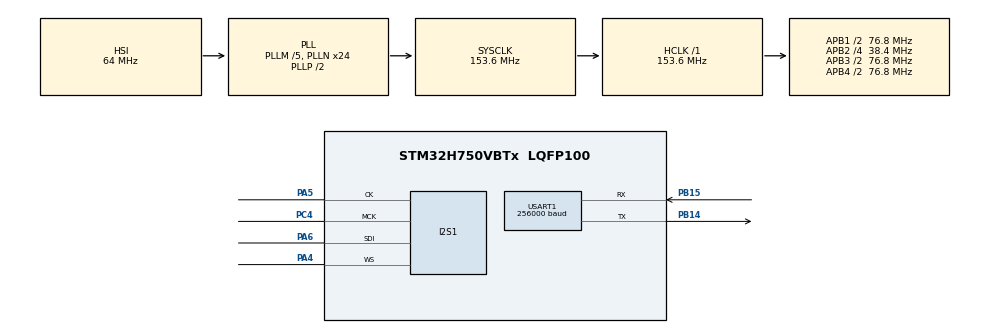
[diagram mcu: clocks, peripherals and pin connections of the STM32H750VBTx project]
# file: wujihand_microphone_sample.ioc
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CORTEX_M7.default_mode_Activation=1
Dma.Request0=USART1_TX
Dma.Request1=SPI1_RX
Dma.SPI1_RX.1.Direction=DMA_PERIPH_TO_MEMORY
Dma.SPI1_RX.1.EventEnable=DISABLE
Dma.SPI1_RX.1.FIFOMode=DMA_FIFOMODE_ENABLE
Dma.SPI1_RX.1.FIFOThreshold=DMA_FIFO_THRESHOLD_FULL
Dma.SPI1_RX.1.Instance=DMA1_Stream0
Dma.SPI1_RX.1.MemBurst=DMA_MBURST_SINGLE
Dma.SPI1_RX.1.MemDataAlignment=DMA_MDATAALIGN_BYTE
Dma.SPI1_RX.1.MemInc=DMA_MINC_ENABLE
Dma.SPI1_RX.1.Mode=DMA_CIRCULAR
Dma.SPI1_RX.1.PeriphBurst=DMA_PBURST_SINGLE
Dma.SPI1_RX.1.PeriphDataAlignment=DMA_PDATAALIGN_HALFWORD
Dma.SPI1_RX.1.PeriphInc=DMA_PINC_DISABLE
Dma.SPI1_RX.1.Polarity=HAL_DMAMUX_REQ_GEN_RISING
Dma.SPI1_RX.1.Priority=DMA_PRIORITY_LOW
Dma.SPI1_RX.1.RequestNumber=1
Dma.SPI1_RX.1.SignalID=NONE
Dma.SPI1_RX.1.SyncEnable=DISABLE
Dma.SPI1_RX.1.SyncPolarity=HAL_DMAMUX_SYNC_NO_EVENT
Dma.SPI1_RX.1.SyncRequestNumber=1
Dma.SPI1_RX.1.SyncSignalID=NONE
Dma.USART1_TX.0.Direction=DMA_MEMORY_TO_PERIPH
Dma.USART1_TX.0.EventEnable=DISABLE
Dma.USART1_TX.0.FIFOMode=DMA_FIFOMODE_DISABLE
Dma.USART1_TX.0.Instance=DMA1_Stream1
Dma.USART1_TX.0.MemDataAlignment=DMA_MDATAALIGN_BYTE
Dma.USART1_TX.0.MemInc=DMA_MINC_ENABLE
Dma.USART1_TX.0.Mode=DMA_NORMAL
Dma.USART1_TX.0.PeriphDataAlignment=DMA_PDATAALIGN_BYTE
Dma.USART1_TX.0.PeriphInc=DMA_PINC_DISABLE
Dma.USART1_TX.0.Polarity=HAL_DMAMUX_REQ_GEN_RISING
Dma.USART1_TX.0.Priority=DMA_PRIORITY_LOW
Dma.USART1_TX.0.RequestNumber=1
Dma.USART1_TX.0.SignalID=NONE
Dma.USART1_TX.0.SyncEnable=DISABLE
Dma.USART1_TX.0.SyncPolarity=HAL_DMAMUX_SYNC_NO_EVENT
Dma.USART1_TX.0.SyncRequestNumber=1
Dma.USART1_TX.0.SyncSignalID=NONE
I2S1.AudioFreq=I2S_AUDIOFREQ_48K
I2S1.DataFormat=I2S_DATAFORMAT_16B
I2S1.ErrorAudioFreq=0.0 %
I2S1.Instance=SPI$Index
I2S1.RealAudioFreq=48.0 KHz
I2S1.Standard=I2S_STANDARD_MSB
Mcu.Family=STM32H7
Mcu.Name=STM32H750VBTx
Mcu.Package=LQFP100
NVIC.DMA1_Stream0_IRQn=true\:0\:0\:false\:false\:true\:false\:true\:true
NVIC.DMA1_Stream1_IRQn=true\:0\:0\:false\:false\:true\:false\:true\:true
NVIC.PriorityGroup=NVIC_PRIORITYGROUP_4
NVIC.SPI1_IRQn=true\:0\:0\:false\:false\:true\:true\:true\:true
NVIC.USART1_IRQn=true\:0\:0\:false\:false\:true\:false\:true\:true
PA4.Mode=Half_Duplex_Master_Rx
PA4.Signal=I2S1_WS
PA5.Mode=Half_Duplex_Master_Rx
PA5.Signal=I2S1_CK
PA6.Mode=Half_Duplex_Master_Rx
PA6.Signal=I2S1_SDI
PB14.Mode=Asynchronous
PB14.Signal=USART1_TX
PB15.Mode=Asynchronous
PB15.Signal=USART1_RX
PC14-OSC32_IN\ (OSC32_IN).Mode=LSE-External-Oscillator
PC14-OSC32_IN\ (OSC32_IN).Signal=RCC_OSC32_IN
PC15-OSC32_OUT\ (OSC32_OUT).Mode=LSE-External-Oscillator
PC15-OSC32_OUT\ (OSC32_OUT).Signal=RCC_OSC32_OUT
PC4.Mode=Master_Clock_Activated
PC4.Signal=I2S1_MCK
PH0-OSC_IN\ (PH0).Mode=HSE-External-Oscillator
PH0-OSC_IN\ (PH0).Signal=RCC_OSC_IN
PH1-OSC_OUT\ (PH1).Mode=HSE-External-Oscillator
PH1-OSC_OUT\ (PH1).Signal=RCC_OSC_OUT
ProjectManager.HeapSize=0x200
ProjectManager.StackSize=0x400
ProjectManager.TargetToolchain=MDK-ARM V5.32
RCC.ADCFreq_Value=129000000
RCC.APB1Freq_Value=76800000
RCC.APB2Freq_Value=38400000
RCC.APB3Freq_Value=76800000
RCC.APB4Freq_Value=76800000
RCC.CortexFreq_Value=153600000
RCC.D1PPRE=RCC_APB3_DIV2
RCC.D2PPRE1=RCC_APB1_DIV2
RCC.D2PPRE2=RCC_APB2_DIV4
RCC.D3PPRE=RCC_APB4_DIV2
RCC.DIVM1=5
RCC.DIVN1=24
RCC.DIVQ1=5
RCC.HCLKFreq_Value=153600000
RCC.PLL2FRACN=0
RCC.PLL3FRACN=0
RCC.PLLFRACN=0
RCC.SYSCLKFreq_VALUE=153600000
RCC.SYSCLKSource=RCC_SYSCLKSOURCE_PLLCLK
RCC.USBFreq_Value=61440000
USART1.BaudRate=256000
USART1.VirtualMode-Asynchronous=VM_ASYNC
VP_CRC_VS_CRC.Mode=CRC_Activate
VP_MEMORYMAP_VS_MEMORYMAP.Mode=CurAppReg
VP_PDM2PCM_VS_PDM2PCM.Mode=PDM2PCM_Channel
board=custom

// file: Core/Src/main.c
/* USER CODE BEGIN Header */
/**
  ******************************************************************************
  * @file           : main.c
  * @brief          : Main program body
  ******************************************************************************
  * @attention
  *
  * Copyright (c) 2025 STMicroelectronics.
  * All rights reserved.
  *
  * This software is licensed under terms that can be found in the LICENSE file
  * in the root directory of this software component.
  * If no LICENSE file comes with this software, it is provided AS-IS.
  *
  ******************************************************************************
  */
/* USER CODE END Header */
#include "main.h"
#include "crc.h"
#include "dma.h"
#include "i2s.h"
#include "pdm2pcm.h"
#include "usart.h"
#include "gpio.h"

/* USER CODE BEGIN Includes */
#include "string.h"
#include "stdint.h"
#include "math.h"
#include "bsp_lpf.h"
/* USER CODE END Includes */

/* USER CODE BEGIN PV */
int komijbox_sound_dB ( const int16_t *pcm, int len );
/* USER CODE END PV */

void SystemClock_Config(void);
static void MPU_Config(void);

/* USER CODE BEGIN 0 */
int32_t g_pdm_buf[128];
int16_t g_pcm_buf[128];
int16_t g_filtered_pcm_buf[128];
int dB = 0;
extern PDM_Filter_Handler_t PDM1_filter_handler;
/* USER CODE END 0 */

int main(void)
{

  /* MPU Configuration--------------------------------------------------------*/
  MPU_Config();

  /* MCU Configuration--------------------------------------------------------*/

  /* Reset of all peripherals, Initializes the Flash interface and the Systick. */
  HAL_Init();

  /* Configure the system clock */
  SystemClock_Config();

  /* Initialize all configured peripherals */
  MX_GPIO_Init();
  MX_DMA_Init();
  MX_CRC_Init();
  MX_USART1_UART_Init();
  MX_I2S1_Init();
  MX_PDM2PCM_Init();
  /* USER CODE BEGIN 2 */
	HAL_I2S_Receive_DMA(&hi2s1, (uint16_t *)g_pdm_buf, 128);
    init_lowpass_filter();
  /* USER CODE END 2 */

  /* Infinite loop */
  while (1)
  {

    /* USER CODE BEGIN 3 */
    PDM_Filter(g_pdm_buf, g_pcm_buf, &PDM1_filter_handler);
    filter_block(g_pcm_buf, g_filtered_pcm_buf, 128);
    dB = komijbox_sound_dB(g_filtered_pcm_buf, 128);
    HAL_UART_Transmit_DMA(&huart1, (uint8_t *)g_filtered_pcm_buf, 40);
    HAL_Delay(1);
  }
  /* USER CODE END 3 */
}

void SystemClock_Config(void)
{
  RCC_OscInitTypeDef RCC_OscInitStruct = {0};
  RCC_ClkInitTypeDef RCC_ClkInitStruct = {0};

  /** Supply configuration update enable
  */
  HAL_PWREx_ConfigSupply(PWR_LDO_SUPPLY);

  /** Configure the main internal regulator output voltage
  */
  __HAL_PWR_VOLTAGESCALING_CONFIG(PWR_REGULATOR_VOLTAGE_SCALE3);

  while(!__HAL_PWR_GET_FLAG(PWR_FLAG_VOSRDY)) {}

  /** Initializes the RCC Oscillators according to the specified parameters
  * in the RCC_OscInitTypeDef structure.
  */
  RCC_OscInitStruct.OscillatorType = RCC_OSCILLATORTYPE_HSI;
  RCC_OscInitStruct.HSIState = RCC_HSI_DIV1;
  RCC_OscInitStruct.HSICalibrationValue = RCC_HSICALIBRATION_DEFAULT;
  RCC_OscInitStruct.PLL.PLLState = RCC_PLL_ON;
  RCC_OscInitStruct.PLL.PLLSource = RCC_PLLSOURCE_HSI;
  RCC_OscInitStruct.PLL.PLLM = 5;
  RCC_OscInitStruct.PLL.PLLN = 24;
  RCC_OscInitStruct.PLL.PLLP = 2;
  RCC_OscInitStruct.PLL.PLLQ = 5;
  RCC_OscInitStruct.PLL.PLLR = 2;
  RCC_OscInitStruct.PLL.PLLRGE = RCC_PLL1VCIRANGE_3;
  RCC_OscInitStruct.PLL.PLLVCOSEL = RCC_PLL1VCOWIDE;
  RCC_OscInitStruct.PLL.PLLFRACN = 0;
  if (HAL_RCC_OscConfig(&RCC_OscInitStruct) != HAL_OK)
  {
    Error_Handler();
  }

  /** Initializes the CPU, AHB and APB buses clocks
  */
  RCC_ClkInitStruct.ClockType = RCC_CLOCKTYPE_HCLK|RCC_CLOCKTYPE_SYSCLK
                              |RCC_CLOCKTYPE_PCLK1|RCC_CLOCKTYPE_PCLK2
                              |RCC_CLOCKTYPE_D3PCLK1|RCC_CLOCKTYPE_D1PCLK1;
  RCC_ClkInitStruct.SYSCLKSource = RCC_SYSCLKSOURCE_PLLCLK;
  RCC_ClkInitStruct.SYSCLKDivider = RCC_SYSCLK_DIV1;
  RCC_ClkInitStruct.AHBCLKDivider = RCC_HCLK_DIV1;
  RCC_ClkInitStruct.APB3CLKDivider = RCC_APB3_DIV2;
  RCC_ClkInitStruct.APB1CLKDivider = RCC_APB1_DIV2;
  RCC_ClkInitStruct.APB2CLKDivider = RCC_APB2_DIV4;
  RCC_ClkInitStruct.APB4CLKDivider = RCC_APB4_DIV2;

  if (HAL_RCC_ClockConfig(&RCC_ClkInitStruct, FLASH_LATENCY_3) != HAL_OK)
  {
    Error_Handler();
  }
}

/* USER CODE BEGIN 4 */
/**
 * @brief
 *
 * @param pcm :
 * @param len :
 * @return int :
 * @note   Lp =
 *
 */
int komijbox_sound_dB (const int16_t *pcm, int len)
{
	int sum = 0;
	int dB = 0;
	short tmp = 0;
	short *pcmaddr = (short *)pcm;

	for (int i = 0; i < len; i++)
	{
        if(*pcmaddr == 0)
            continue;
		memcpy (&tmp, pcmaddr + i, 2);
		short abs_tmp = tmp > 0 ? tmp : -tmp;
		sum += abs_tmp;
	}

	sum = sum / (len);

	if (sum)
	{
		dB = (int ) ( 20 * log10 ( sum ) );
	}

	return dB;
}
/* USER CODE END 4 */

 /* MPU Configuration */

void MPU_Config(void)
{
  MPU_Region_InitTypeDef MPU_InitStruct = {0};

  /* Disables the MPU */
  HAL_MPU_Disable();

  /** Initializes and configures the Region and the memory to be protected
  */
  MPU_InitStruct.Enable = MPU_REGION_ENABLE;
  MPU_InitStruct.Number = MPU_REGION_NUMBER0;
  MPU_InitStruct.BaseAddress = 0x0;
  MPU_InitStruct.Size = MPU_REGION_SIZE_4GB;
  MPU_InitStruct.SubRegionDisable = 0x87;
  MPU_InitStruct.TypeExtField = MPU_TEX_LEVEL0;
  MPU_InitStruct.AccessPermission = MPU_REGION_NO_ACCESS;
  MPU_InitStruct.DisableExec = MPU_INSTRUCTION_ACCESS_DISABLE;
  MPU_InitStruct.IsShareable = MPU_ACCESS_SHAREABLE;
  MPU_InitStruct.IsCacheable = MPU_ACCESS_NOT_CACHEABLE;
  MPU_InitStruct.IsBufferable = MPU_ACCESS_NOT_BUFFERABLE;

  HAL_MPU_ConfigRegion(&MPU_InitStruct);
  /* Enables the MPU */
  HAL_MPU_Enable(MPU_PRIVILEGED_DEFAULT);

}

void Error_Handler(void)
{
  __disable_irq();
  while (1)
  {
  }
}
